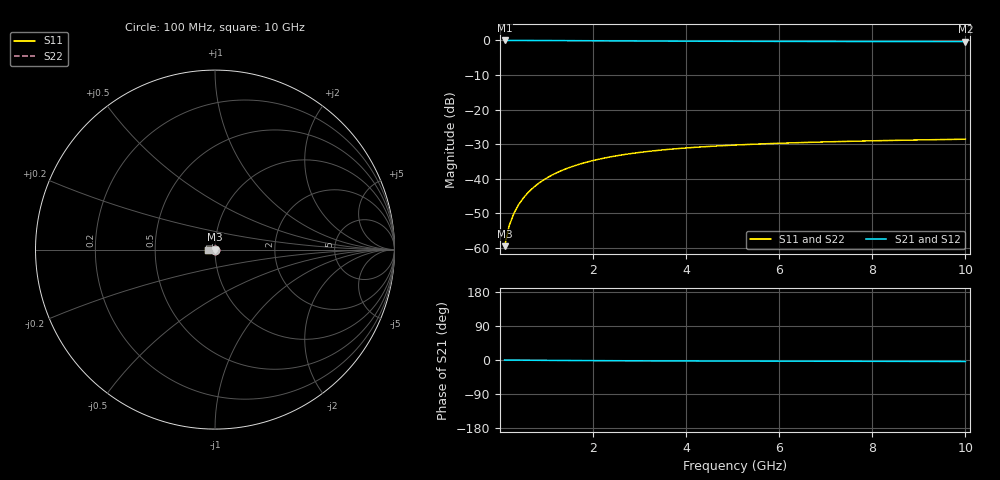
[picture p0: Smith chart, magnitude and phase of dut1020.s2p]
! Touchstone file exported from HFSS 2024.1.0
!  File:  C:/UserFiles/LocalFiles/RDL_TSV_Batchsim/temp_TSV1_1020_1780059641.aedt
!  Generated:  09:09:07 PM May 29, 2026
!  Design:  TSV1
!  Project:  temp_TSV1_1020_1780059641
!  Setup:  Setup1
!  Solution:  Sweep
! Variables:
!  dtsv = 12.07um
!  hbump = 3um
!  htsv = 58.47um
!  lrdl = 252.1521522um
!  p = 40
!  p1 = 52.92um
!  t = 500um
!  trdl = 3um
!  wrdl = 24.89489489um
# GHz S MA R 50.000000
! Terminal data exported
! Port[1] = TSV22_T1
! Port[2] = TSV22_T2
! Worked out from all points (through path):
!   100 points, 100 MHz to 10 GHz, reference 50 ohm
!   highest |S21| = 0.00 dB at 100 MHz (marker M1); lowest = -0.3 dB at 10 GHz (marker M2)
!   lowest |S11| = -59.6 dB at 100 MHz (marker M3), VSWR 1.00, Z = 50 - j0.105 ohm
!   |S11| at or under -10 dB: start of sweep to end of sweep
!   |S22| runs from -59.6 to -28.6 dB; largest |S21 - S12| = 8e-15
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0.1  0.001049 -87.4  0.9999 -0.1  0.9999 -0.1  0.001049 -87.4
! Gamma 0 0 0 0
! Port Impedance 50 0 50 0
0.2  0.002094 -91.3  0.9998 -0.2  0.9998 -0.2  0.002094 -91.3
0.3  0.003139 -93.8  0.9996 -0.3  0.9996 -0.3  0.003139 -93.8
0.4  0.004179 -96.0  0.9993 -0.4  0.9993 -0.4  0.004179 -96.0
0.5  0.00521 -98.0  0.999 -0.5  0.999 -0.5  0.00521 -98.0
0.6  0.006229 -100.0  0.9986 -0.6  0.9986 -0.6  0.006229 -100.0
0.7  0.007233 -101.9  0.9982 -0.7  0.9982 -0.7  0.007234 -101.9
0.8  0.00822 -103.8  0.9977 -0.8  0.9977 -0.8  0.00822 -103.8
0.9  0.009188 -105.7  0.9972 -0.9  0.9972 -0.9  0.009188 -105.7
1.1  0.01106 -109.2  0.9961 -1.0  0.9961 -1.0  0.01106 -109.2
1.4  0.01368 -114.3  0.9941 -1.3  0.9941 -1.3  0.01368 -114.3
1.6  0.0153 -117.5  0.9927 -1.4  0.9927 -1.4  0.0153 -117.5
1.8  0.01682 -120.6  0.9912 -1.5  0.9912 -1.5  0.01682 -120.6
2.1  0.0189 -124.9  0.9889 -1.7  0.9889 -1.7  0.0189 -124.9
2.5  0.02133 -130.2  0.986 -1.9  0.986 -1.9  0.02133 -130.2
2.9  0.02342 -134.9  0.9832 -2.1  0.9832 -2.1  0.02342 -134.9
3.4  0.02561 -140.2  0.9801 -2.3  0.9801 -2.3  0.02561 -140.2
4.2  0.02836 -147.5  0.9758 -2.5  0.9758 -2.5  0.02836 -147.5
5.1  0.03067 -154.4  0.972 -2.8  0.972 -2.8  0.03067 -154.4
6.7  0.03353 -164.1  0.9671 -3.2  0.9671 -3.2  0.03353 -164.1
8.4  0.03563 -172.2  0.9638 -3.6  0.9638 -3.6  0.03563 -172.2
10  0.03715 -178.6  0.9616 -4.0  0.9616 -4.0  0.03715 -178.6
